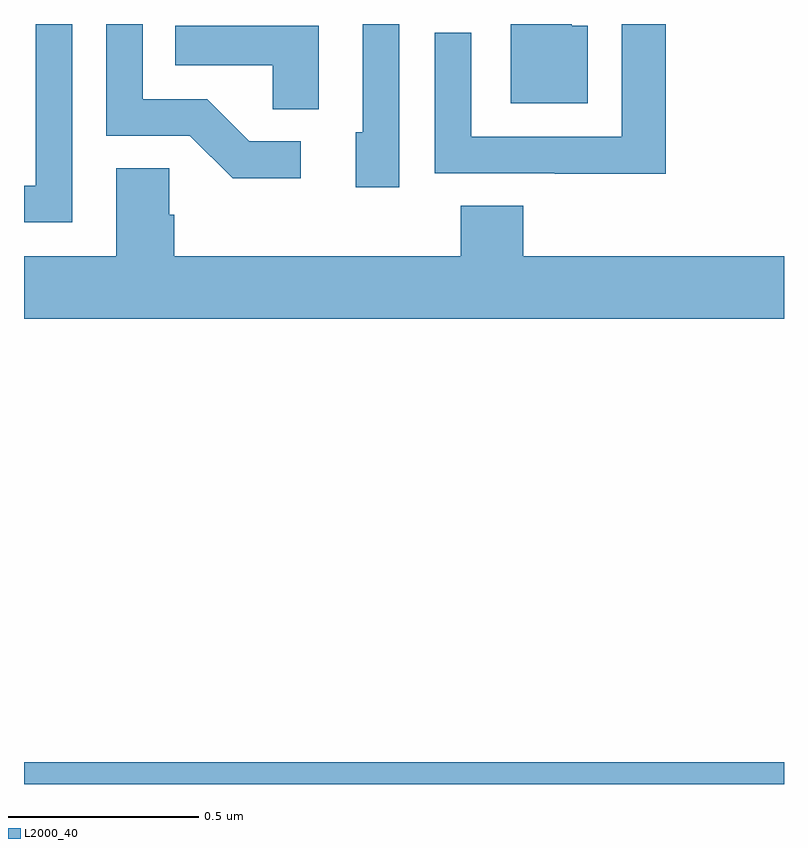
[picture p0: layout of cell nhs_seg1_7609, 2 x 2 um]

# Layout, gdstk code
import gdstk
lib = gdstk.Library(unit=1e-6, precision=1e-09)
def R(c, l, rs):  # rectangles x0, y0, x1, y1
    for r in rs: c.add(gdstk.rectangle(r[:2], r[2:], *l))
def P(c, l, *ps):  # polygons
    for p in ps: c.add(gdstk.Polygon(p, *l))
L2000_40 = (2000, 40)

nhs_seg1_7609 = lib.new_cell('nhs_seg1_7609')
R(nhs_seg1_7609, L2000_40, [(206,525.199,208,525.256)])
P(nhs_seg1_7609, L2000_40, [(207.689,527.199),(207.573,527.199),(207.573,526.902),(207.177,526.902),(207.177,527.176),(207.081,527.176),(207.081,526.806),(207.397,526.806),(207.397,526.805),(207.689,526.805)],
  [(206.728,526.89),(206.593,526.89),(206.482,527.001),(206.313,527.001),(206.313,527.199),(206.217,527.199),(206.217,526.905),(206.436,526.905),(206.549,526.793),(206.728,526.793)],
  [(207.484,527.194),(207.442,527.194),(207.442,527.199),(207.281,527.199),(207.281,526.991),(207.484,526.991)],
  [(206.127,527.199),(206.031,527.199),(206.031,526.773),(206,526.773),(206,526.677),(206.127,526.677)],
  [(206.988,527.199),(206.892,527.199),(206.892,526.914),(206.873,526.914),(206.873,526.77),(206.988,526.77)],
  [(206.776,527.194),(206.398,527.194),(206.398,527.09),(206.655,527.09),(206.655,526.975),(206.776,526.975)],
  [(208,526.588),(207.314,526.588),(207.314,526.721),(207.149,526.721),(207.149,526.588),(206.396,526.588),(206.396,526.697),(206.382,526.697),(206.382,526.82),(206.243,526.82),(206.243,526.588),(206,526.588),(206,526.424),(208,526.424)])

lib.write_gds('nhs_seg1_7609.gds')
